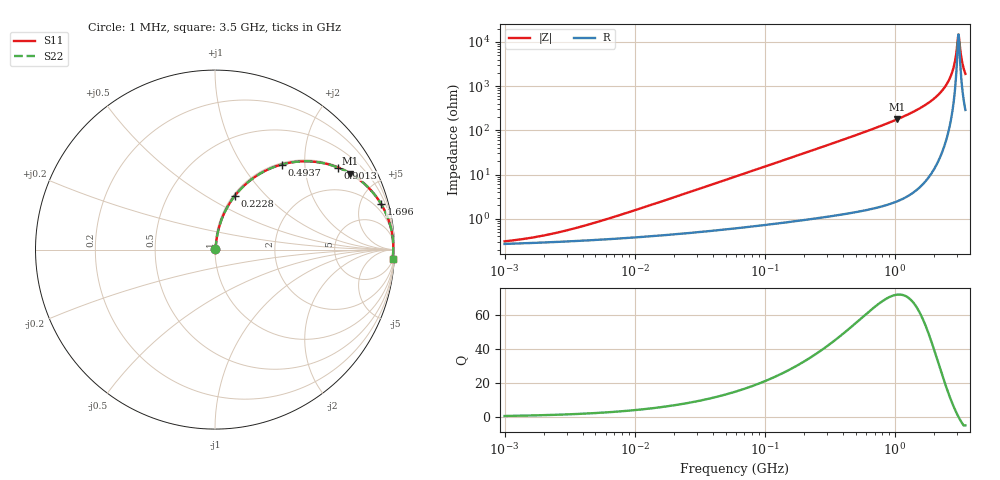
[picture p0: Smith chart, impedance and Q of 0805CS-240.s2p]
# MHz S MA R 50
!Freq  MagS11  AngS11  MagS21  AngS21  MagS12  AngS12  MagS22  AngS22
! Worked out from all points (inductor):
!   801 points, 1 MHz to 3.5 GHz, reference 50 ohm
!   read as one part in series: L = 24 nH near 7.089 MHz
!   highest Q = 71.6 at 1.04 GHz (marker M1), where L = 27 nH
!   self-resonance near 3.097 GHz
!   S11 on the Smith chart (normalised r, x): 1 MHz: 1.01, +0.00; 222.8 MHz: 1.02, +0.68; 493.7 MHz: 1.03, +1.53; 901.3 MHz: 1.04, +2.97; 1.696 GHz: 1.13, +7.31; 3.5 GHz: 7, -37
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1  0.003085 29.1  0.9973 -0.1  0.9973 -0.1  0.003085 29.1
1.940687  0.004107 45.1  0.9971 -0.2  0.9971 -0.2  0.004107 45.1
3.923118  0.006701 61.3  0.9968 -0.3  0.9968 -0.3  0.006701 61.3
15.23466  0.02324 78.4  0.9956 -1.3  0.9956 -1.3  0.02324 78.4
59.76736  0.08946 81.0  0.99 -5.1  0.99 -5.1  0.08946 81.0
118.3804  0.1748 77.5  0.9771 -10.1  0.9771 -10.1  0.1748 77.5
222.8153  0.3173 69.9  0.9392 -18.5  0.9392 -18.5  0.3173 69.9
232.0948  0.3292 69.2  0.935 -19.2  0.935 -19.2  0.3292 69.2
338.5155  0.4549 61.7  0.8803 -27.1  0.8803 -27.1  0.4549 61.7
493.7325  0.6018 52.0  0.7877 -37.0  0.7877 -37.0  0.6018 52.0
901.2945  0.824 33.7  0.5549 -55.5  0.5549 -55.5  0.824 33.7
1039.652  0.8651 29.3  0.4896 -59.9  0.4896 -59.9  0.8651 29.3
1696.415  0.9601 15.2  0.2628 -73.7  0.2628 -73.7  0.9601 15.2
2166.976  0.9833 8.8  0.1537 -79.4  0.1537 -79.4  0.9833 8.8
2551.147  0.9911 4.8  0.08312 -81.5  0.08312 -81.5  0.9911 4.8
2796.444  0.9931 2.5  0.04405 -79.8  0.04405 -79.8  0.9931 2.5
2883.344  0.9934 1.8  0.03122 -76.9  0.03122 -76.9  0.9934 1.8
3003.425  0.9934 0.8  0.01474 -63.2  0.01474 -63.2  0.9934 0.8
3065.328  0.9934 0.3  0.008061 -34.3  0.008061 -34.3  0.9934 0.3
3160.583  0.9931 -0.5  0.0109 50.1  0.0109 50.1  0.9931 -0.5
3360.065  0.9919 -2.0  0.03523 75.7  0.03523 75.7  0.9919 -2.0
3500  0.9906 -3.0  0.05236 78.2  0.05236 78.2  0.9906 -3.0
